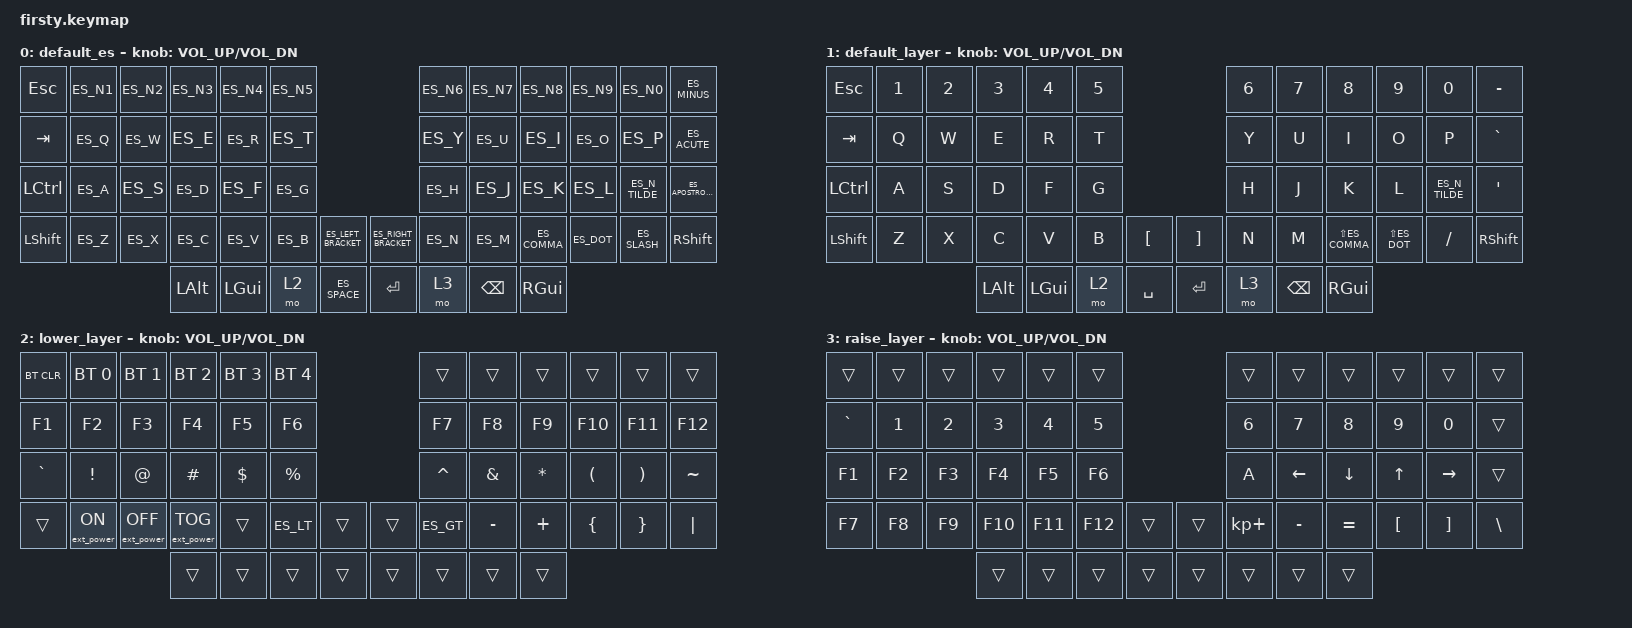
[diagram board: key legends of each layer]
/*
 * Copyright (c) 2020 The ZMK Contributors
 *
 * SPDX-License-Identifier: MIT
 */

#include <behaviors.dtsi>
#include <dt-bindings/zmk/bt.h>
#include <dt-bindings/zmk/ext_power.h>
#include <dt-bindings/zmk/keys.h>
#include "keys_es_latin_american.h"

/ {
    keymap {
        compatible = "zmk,keymap";

        default_es {
            bindings = <
&kp ESC    &kp ES_N1  &kp ES_N2  &kp ES_N3  &kp ES_N4  &kp ES_N5                          &kp ES_N6  &kp ES_N7  &kp ES_N8     &kp ES_N9   &kp ES_N0       &kp ES_MINUS
&kp TAB    &kp ES_Q   &kp ES_W   &kp ES_E   &kp ES_R   &kp ES_T                           &kp ES_Y   &kp ES_U   &kp ES_I      &kp ES_O    &kp ES_P        &kp ES_ACUTE
&kp LCTRL  &kp ES_A   &kp ES_S   &kp ES_D   &kp ES_F   &kp ES_G                           &kp ES_H   &kp ES_J   &kp ES_K      &kp ES_L    &kp ES_N_TILDE  &kp ES_APOSTROPHE
&kp LSHFT  &kp ES_Z   &kp ES_X   &kp ES_C   &kp ES_V   &kp ES_B  &kp ES_LEFT_BRACKET  &kp ES_RIGHT_BRACKET  &kp ES_N   &kp ES_M   &kp ES_COMMA  &kp ES_DOT  &kp ES_SLASH    &kp RSHFT
            &kp LALT   &kp LGUI   &mo 2      &kp ES_SPACE                                  &kp RET               &mo 3      &kp BSPC   &kp RGUI
            >;

            sensor-bindings = <&inc_dec_kp C_VOL_UP C_VOL_DN>;
        };

        default_layer {
            // ------------------------------------------------------------------------------------------------------------
            // |  ESC  |  1  |  2  |  3   |  4   |  5   |                   |  6   |  7    |  8    |  9   |   0   |   `   |
            // |  TAB  |  Q  |  W  |  E   |  R   |  T   |                   |  Y   |  U    |  I    |  O   |   P   |   -   |
            // |  CTRL |  A  |  S  |  D   |  F   |  G   |                   |  H   |  J    |  K    |  L   |   ;   |   '   |
            // | SHIFT |  Z  |  X  |  C   |  V   |  B   |   "["  |  |  "]"  |  N   |  M    |  ,    |  .   |   /   | SHIFT |
            //                     | ALT  | GUI  | LOWER|  SPACE |  | ENTER | RAISE| BSPC  | GUI   |

            bindings = <
&kp ESC    &kp N1  &kp N2  &kp N3    &kp N4    &kp N5                       &kp N6  &kp N7    &kp N8            &kp N9          &kp N0          &kp MINUS
&kp TAB    &kp Q   &kp W   &kp E     &kp R     &kp T                        &kp Y   &kp U     &kp I             &kp O           &kp P           &kp GRAVE
&kp LCTRL  &kp A   &kp S   &kp D     &kp F     &kp G                        &kp H   &kp J     &kp K             &kp L           &kp ES_N_TILDE  &kp SQT
&kp LSHFT  &kp Z   &kp X   &kp C     &kp V     &kp B   &kp LBKT   &kp RBKT  &kp N   &kp M     &kp LS(ES_COMMA)  &kp LS(ES_DOT)  &kp FSLH        &kp RSHFT
                           &kp LALT  &kp LGUI  &mo 2   &kp SPACE  &kp RET   &mo 3   &kp BSPC  &kp RGUI
            >;

            sensor-bindings = <&inc_dec_kp C_VOL_UP C_VOL_DN>;
        };

        lower_layer {
            // ------------------------------------------------------------------------------------------------------------
            // | BTCLR | BT1 | BT2 |  BT3 |  BT4 |  BT5 |                   |      |       |       |      |       |       |
            // |  F1   |  F2 |  F3 |  F4  |  F5  |  F6  |                   |  F7  |  F8   |  F9   |  F10 |  F11  |  F12  |
            // |   `   |  !  |  @  |  #   |  $   |  %   |                   |  ^   |  &    |  *    |  (   |   )   |   ~   |
            // |       |     |     |      |      |      |        |  |       |      |  _    |  +    |  {   |   }   |  "|"  |
            //                     |      |      |      |        |  |       |      |       |       |

            bindings = <
&bt BT_CLR  &bt BT_SEL 0      &bt BT_SEL 1       &bt BT_SEL 2       &bt BT_SEL 3  &bt BT_SEL 4                  &trans     &trans     &trans     &trans    &trans    &trans
&kp F1      &kp F2            &kp F3             &kp F4             &kp F5        &kp F6                        &kp F7     &kp F8     &kp F9     &kp F10   &kp F11   &kp F12
&kp GRAVE   &kp EXCL          &kp AT             &kp HASH           &kp DOLLAR    &kp PRCNT                     &kp CARET  &kp AMPS   &kp ASTRK  &kp LPAR  &kp RPAR  &kp TILDE
&trans      &ext_power EP_ON  &ext_power EP_OFF  &ext_power EP_TOG  &trans        &kp ES_LT     &trans  &trans  &kp ES_GT  &kp MINUS  &kp PLUS   &kp LBRC  &kp RBRC  &kp PIPE
                                                 &trans             &trans        &trans        &trans  &trans  &trans     &trans     &trans
            >;

            sensor-bindings = <&inc_dec_kp C_VOL_UP C_VOL_DN>;
        };

        raise_layer {
            // ------------------------------------------------------------------------------------------------------------
            // |       |     |     |      |      |      |                   |      |       |       |      |       |       |
            // |   `   |  1  |  2  |  3   |  4   |  5   |                   |  6   |   7   |   8   |  9   |   0   |       |
            // |   F1  |  F2 |  F3 |  F4  |  F5  |  F6  |                   |      |   <-  |   v   |  ^   |  ->   |       |
            // |   F7  |  F8 |  F9 |  F10 |  F11 |  F12 |        |  |       |  +   |   -   |   =   |  [   |   ]   |   \   |
            //                     |      |      |      |        |  |       |      |       |       |

            bindings = <
&trans     &trans  &trans  &trans   &trans   &trans                   &trans       &trans     &trans     &trans    &trans     &trans
&kp GRAVE  &kp N1  &kp N2  &kp N3   &kp N4   &kp N5                   &kp N6       &kp N7     &kp N8     &kp N9    &kp N0     &trans
&kp F1     &kp F2  &kp F3  &kp F4   &kp F5   &kp F6                   &kp A        &kp LEFT   &kp DOWN   &kp UP    &kp RIGHT  &trans
&kp F7     &kp F8  &kp F9  &kp F10  &kp F11  &kp F12  &trans  &trans  &kp KP_PLUS  &kp MINUS  &kp EQUAL  &kp LBKT  &kp RBKT   &kp BSLH
                           &trans   &trans   &trans   &trans  &trans  &trans       &trans     &trans
            >;

            sensor-bindings = <&inc_dec_kp C_VOL_UP C_VOL_DN>;
        };
    };
};
